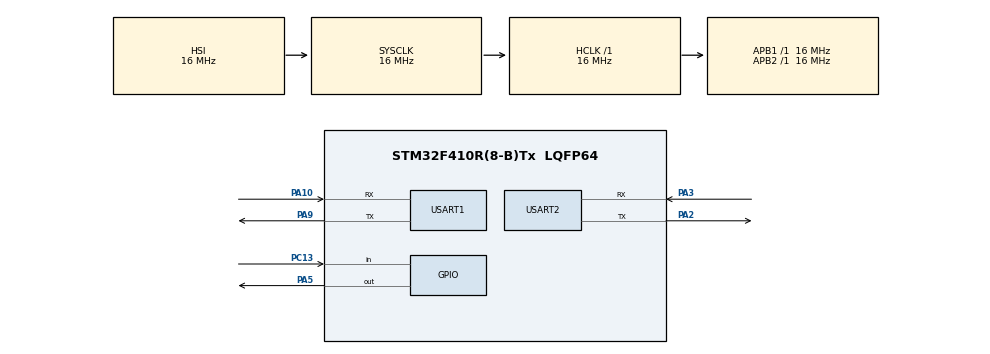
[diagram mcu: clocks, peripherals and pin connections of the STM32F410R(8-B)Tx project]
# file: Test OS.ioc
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FREERTOS.Tasks01=checkDistance,24,128,StartDefaultTask,Default,NULL,Dynamic,NULL,NULL;myTask02,24,128,StartTask02,Default,NULL,Dynamic,NULL,NULL;checkUserButton,8,128,button,Default,NULL,Dynamic,NULL,NULL;serialdetection,8,128,StartSerialDetection,Default,NULL,Dynamic,NULL,NULL
FREERTOS.configUSE_NEWLIB_REENTRANT=1
Mcu.Family=STM32F4
Mcu.Name=STM32F410R(8-B)Tx
Mcu.Package=LQFP64
NVIC.PriorityGroup=NVIC_PRIORITYGROUP_4
NVIC.TIM1_UP_IRQn=true\:15\:0\:false\:false\:true\:false\:false\:true\:true
NVIC.TimeBase=TIM1_UP_IRQn
NVIC.TimeBaseIP=TIM1
NVIC.USART1_IRQn=true\:5\:0\:false\:false\:true\:true\:true\:true\:true
NVIC.USART2_IRQn=true\:5\:0\:false\:false\:true\:true\:true\:true\:true
PA10.Mode=Asynchronous
PA10.Signal=USART1_RX
PA2.Mode=Asynchronous
PA2.Signal=USART2_TX
PA3.Mode=Asynchronous
PA3.Signal=USART2_RX
PA5.Signal=GPIO_Output
PA9.Mode=Asynchronous
PA9.Signal=USART1_TX
PC13-ANTI_TAMP.Signal=GPIO_Input
ProjectManager.HeapSize=0x200
ProjectManager.StackSize=0x400
ProjectManager.TargetToolchain=STM32CubeIDE
RCC.48MHZClocksFreq_Value=4000000
RCC.AHBFreq_Value=16000000
RCC.APB1Freq_Value=16000000
RCC.APB1TimFreq_Value=16000000
RCC.APB2Freq_Value=16000000
RCC.APB2TimFreq_Value=16000000
RCC.CortexFreq_Value=16000000
RCC.HCLKFreq_Value=16000000
RCC.HSE_VALUE=25000000
RCC.HSI_VALUE=16000000
RCC.LSE_VALUE=32768
RCC.PLLM=50
RCC.PLLN=50
RCC.PLLP=RCC_PLLP_DIV8
RCC.SYSCLKFreq_VALUE=16000000
RCC.VCOOutputFreq_Value=16000000
TIM5.Period=999
TIM5.Prescaler=249
USART1.VirtualMode=VM_ASYNC
USART2.VirtualMode=VM_ASYNC
VP_FREERTOS_VS_CMSIS_V2.Mode=CMSIS_V2
VP_SYS_VS_tim1.Mode=TIM1
VP_TIM5_VS_ClockSourceINT.Mode=Internal
board=custom

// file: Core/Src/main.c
/* USER CODE BEGIN Header */
/**
  ******************************************************************************
  * @file           : main.c
  * @brief          : Main program body
  ******************************************************************************
  * @attention
  *
  * Copyright (c) 2022 STMicroelectronics.
  * All rights reserved.
  *
  * This software is licensed under terms that can be found in the LICENSE file
  * in the root directory of this software component.
  * If no LICENSE file comes with this software, it is provided AS-IS.
  *
  ******************************************************************************
  */
/* USER CODE END Header */
#include "main.h"
#include "cmsis_os.h"

TIM_HandleTypeDef htim5;

UART_HandleTypeDef huart1;
UART_HandleTypeDef huart2;

/* Definitions for checkDistance */
osThreadId_t checkDistanceHandle;
const osThreadAttr_t checkDistance_attributes = {
  .name = "checkDistance",
  .stack_size = 128 * 4,
  .priority = (osPriority_t) osPriorityNormal,
};
/* Definitions for myTask02 */
osThreadId_t myTask02Handle;
const osThreadAttr_t myTask02_attributes = {
  .name = "myTask02",
  .stack_size = 128 * 4,
  .priority = (osPriority_t) osPriorityNormal,
};
/* Definitions for checkUserButton */
osThreadId_t checkUserButtonHandle;
const osThreadAttr_t checkUserButton_attributes = {
  .name = "checkUserButton",
  .stack_size = 128 * 4,
  .priority = (osPriority_t) osPriorityLow,
};
/* Definitions for serialdetection */
osThreadId_t serialdetectionHandle;
const osThreadAttr_t serialdetection_attributes = {
  .name = "serialdetection",
  .stack_size = 128 * 4,
  .priority = (osPriority_t) osPriorityLow,
};
/* USER CODE BEGIN PV */

int buttonCount = 0;

uint8_t mesure[2];

/* USER CODE END PV */

void SystemClock_Config(void);
static void MX_GPIO_Init(void);
static void MX_TIM5_Init(void);
static void MX_USART1_UART_Init(void);
static void MX_USART2_UART_Init(void);
void StartDefaultTask(void *argument);
void StartTask02(void *argument);
void button(void *argument);
void StartSerialDetection(void *argument);

/* USER CODE BEGIN 0 */

void send_deftask(float x){
	uint8_t value[12];
	gcvt(x, 8, value);
	value[8] = ' ';
	value[9] = '\r';
	value[10] = '\n';
	value[11]= '\0';

	int size = snprintf((char*)value, 20, "%d\r\n",(int)(x*1000));
	HAL_UART_Transmit(&huart2, value, 8+3, 500);
}

void print_point(float * OP){
	float x = OP[0];
	float y = OP[1];

	uint8_t data[]= " - ";
	send_deftask(x);
	HAL_UART_Transmit(&huart2, data, sizeof(data), 500);
	send_deftask(y);
}

/* USER CODE END 0 */

int main(void)
{

  /* MCU Configuration--------------------------------------------------------*/

  /* Reset of all peripherals, Initializes the Flash interface and the Systick. */
  HAL_Init();

  /* Configure the system clock */
  SystemClock_Config();

  /* Initialize all configured peripherals */
  MX_GPIO_Init();
  MX_TIM5_Init();
  MX_USART1_UART_Init();
  MX_USART2_UART_Init();
  /* USER CODE BEGIN 2 */
  int true;
  tests();
  /* USER CODE END 2 */

  /* Init scheduler */
  osKernelInitialize();

  /* Create the thread(s) */
  /* creation of checkDistance */
  checkDistanceHandle = osThreadNew(StartDefaultTask, NULL, &checkDistance_attributes);

  /* creation of myTask02 */
  myTask02Handle = osThreadNew(StartTask02, NULL, &myTask02_attributes);

  /* creation of checkUserButton */
  checkUserButtonHandle = osThreadNew(button, NULL, &checkUserButton_attributes);

  /* creation of serialdetection */
  serialdetectionHandle = osThreadNew(StartSerialDetection, NULL, &serialdetection_attributes);

  /* Start scheduler */
  osKernelStart();

  /* We should never get here as control is now taken by the scheduler */
  /* Infinite loop */
  while (1)
  {

  }
}

void SystemClock_Config(void)
{
  RCC_OscInitTypeDef RCC_OscInitStruct = {0};
  RCC_ClkInitTypeDef RCC_ClkInitStruct = {0};

  /** Configure the main internal regulator output voltage
  */
  __HAL_RCC_PWR_CLK_ENABLE();
  __HAL_PWR_VOLTAGESCALING_CONFIG(PWR_REGULATOR_VOLTAGE_SCALE1);

  /** Initializes the RCC Oscillators according to the specified parameters
  * in the RCC_OscInitTypeDef structure.
  */
  RCC_OscInitStruct.OscillatorType = RCC_OSCILLATORTYPE_HSI;
  RCC_OscInitStruct.HSIState = RCC_HSI_ON;
  RCC_OscInitStruct.HSICalibrationValue = RCC_HSICALIBRATION_DEFAULT;
  RCC_OscInitStruct.PLL.PLLState = RCC_PLL_NONE;
  if (HAL_RCC_OscConfig(&RCC_OscInitStruct) != HAL_OK)
  {
    Error_Handler();
  }

  /** Initializes the CPU, AHB and APB buses clocks
  */
  RCC_ClkInitStruct.ClockType = RCC_CLOCKTYPE_HCLK|RCC_CLOCKTYPE_SYSCLK
                              |RCC_CLOCKTYPE_PCLK1|RCC_CLOCKTYPE_PCLK2;
  RCC_ClkInitStruct.SYSCLKSource = RCC_SYSCLKSOURCE_HSI;
  RCC_ClkInitStruct.AHBCLKDivider = RCC_SYSCLK_DIV1;
  RCC_ClkInitStruct.APB1CLKDivider = RCC_HCLK_DIV1;
  RCC_ClkInitStruct.APB2CLKDivider = RCC_HCLK_DIV1;

  if (HAL_RCC_ClockConfig(&RCC_ClkInitStruct, FLASH_LATENCY_0) != HAL_OK)
  {
    Error_Handler();
  }
}

static void MX_TIM5_Init(void)
{

  TIM_ClockConfigTypeDef sClockSourceConfig = {0};
  TIM_MasterConfigTypeDef sMasterConfig = {0};

  htim5.Instance = TIM5;
  htim5.Init.Prescaler = 249;
  htim5.Init.CounterMode = TIM_COUNTERMODE_UP;
  htim5.Init.Period = 999;
  htim5.Init.ClockDivision = TIM_CLOCKDIVISION_DIV1;
  htim5.Init.AutoReloadPreload = TIM_AUTORELOAD_PRELOAD_DISABLE;
  if (HAL_TIM_Base_Init(&htim5) != HAL_OK)
  {
    Error_Handler();
  }
  sClockSourceConfig.ClockSource = TIM_CLOCKSOURCE_INTERNAL;
  if (HAL_TIM_ConfigClockSource(&htim5, &sClockSourceConfig) != HAL_OK)
  {
    Error_Handler();
  }
  sMasterConfig.MasterOutputTrigger = TIM_TRGO_RESET;
  sMasterConfig.MasterSlaveMode = TIM_MASTERSLAVEMODE_DISABLE;
  if (HAL_TIMEx_MasterConfigSynchronization(&htim5, &sMasterConfig) != HAL_OK)
  {
    Error_Handler();
  }

}

static void MX_USART1_UART_Init(void)
{

  huart1.Instance = USART1;
  huart1.Init.BaudRate = 115200;
  huart1.Init.WordLength = UART_WORDLENGTH_8B;
  huart1.Init.StopBits = UART_STOPBITS_1;
  huart1.Init.Parity = UART_PARITY_NONE;
  huart1.Init.Mode = UART_MODE_TX_RX;
  huart1.Init.HwFlowCtl = UART_HWCONTROL_NONE;
  huart1.Init.OverSampling = UART_OVERSAMPLING_16;
  if (HAL_UART_Init(&huart1) != HAL_OK)
  {
    Error_Handler();
  }

}

static void MX_USART2_UART_Init(void)
{

  huart2.Instance = USART2;
  huart2.Init.BaudRate = 115200;
  huart2.Init.WordLength = UART_WORDLENGTH_8B;
  huart2.Init.StopBits = UART_STOPBITS_1;
  huart2.Init.Parity = UART_PARITY_NONE;
  huart2.Init.Mode = UART_MODE_TX_RX;
  huart2.Init.HwFlowCtl = UART_HWCONTROL_NONE;
  huart2.Init.OverSampling = UART_OVERSAMPLING_16;
  if (HAL_UART_Init(&huart2) != HAL_OK)
  {
    Error_Handler();
  }

}

static void MX_GPIO_Init(void)
{
  GPIO_InitTypeDef GPIO_InitStruct = {0};

  /* GPIO Ports Clock Enable */
  __HAL_RCC_GPIOC_CLK_ENABLE();
  __HAL_RCC_GPIOA_CLK_ENABLE();

  /*Configure GPIO pin Output Level */
  HAL_GPIO_WritePin(GPIOA, GPIO_PIN_5, GPIO_PIN_RESET);

  /*Configure GPIO pin : PC13 */
  GPIO_InitStruct.Pin = GPIO_PIN_13;
  GPIO_InitStruct.Mode = GPIO_MODE_INPUT;
  GPIO_InitStruct.Pull = GPIO_NOPULL;
  HAL_GPIO_Init(GPIOC, &GPIO_InitStruct);

  /*Configure GPIO pin : PA5 */
  GPIO_InitStruct.Pin = GPIO_PIN_5;
  GPIO_InitStruct.Mode = GPIO_MODE_OUTPUT_PP;
  GPIO_InitStruct.Pull = GPIO_NOPULL;
  GPIO_InitStruct.Speed = GPIO_SPEED_FREQ_LOW;
  HAL_GPIO_Init(GPIOA, &GPIO_InitStruct);

}

void StartDefaultTask(void *argument)
{
  /* USER CODE BEGIN 5 */
	uint8_t n = 0;
	int dist = 4;
	float angle = 90;
  /* Infinite loop */
  for(;;)
  {
	  n+= 10;
	  //double * distance = positionRelative(n, dist, angle);
	  if(n > 100) //HAL_GPIO_TogglePin(GPIOA, GPIO_PIN_5);
	  osDelay(500);
  }
  /* USER CODE END 5 */
}

void StartTask02(void *argument)
{
  /* USER CODE BEGIN StartTask02 */
	static float i = 2;

  /* Infinite loop */
  for(;;)
  {

	  int capteurNumber = mesure[0]>>4;
	  int distanceMesuree = mesure[0]&0xF;
	  float * sortie;
	  float ag = (float)buttonCount;
	  sortie = positionRelative(capteurNumber, distanceMesuree, &ag);
	  //sortie[0] = 12.4;
	  float OA[2]; float OB[2];
	  OA[0] = sortie[0]; OA[1] = sortie[1];
	  OB[0] = sortie[2]; OB[1] = sortie[3];
	  print_point(OA);
	  print_point(OB);

	  uint8_t data[] = "###### \r\n";
	  HAL_UART_Transmit(&huart2, data, sizeof(data), 500);
	  //send_deftask(buttonCount);

	  i+=1;
    osDelay(500);

  }
  /* USER CODE END StartTask02 */
}

void button(void *argument)
{
  /* USER CODE BEGIN button */
  /* Infinite loop */
  for(;;)
  {
/*
	  if(GPIO_PIN_SET == HAL_GPIO_ReadPin(GPIOC, 13)){
		  buttonCount++;
	  }*/
	  buttonCount = 1- (int)HAL_GPIO_ReadPin(GPIOC, GPIO_PIN_13);
	  send_deftask(buttonCount);
    osDelay(500);
  }
  /* USER CODE END button */
}

void StartSerialDetection(void *argument)
{
  /* USER CODE BEGIN StartSerialDetection */
	uint8_t data[2];
	uint8_t chiffres[16] ={'0','1','2','3','4','5','6','7','8','9','A','B','C','D','E','F'};
  /* Infinite loop */
  for(;;)
  {
	data[0] = 0;
	HAL_UART_Receive(&huart1, data, 1, 500);
	if(data[0] != 0){
		int i = data[0]>>4;
		int j = data[0]&0xF;
		HAL_UART_Transmit(&huart2, &" Capteur : ", 11, 100);
		HAL_UART_Transmit(&huart2, &chiffres[i], 1, 100);
		HAL_UART_Transmit(&huart2, &", mesure : ", 11, 100);
		HAL_UART_Transmit(&huart2, &chiffres[j], 1, 100);
		HAL_UART_Transmit(&huart2, &"\n\r", 2, 100);

		HAL_GPIO_TogglePin(GPIOA, GPIO_PIN_5);

		mesure[0] = data[0]; mesure[1] = data[1];
	}
    osDelay(100);
  }
  /* USER CODE END StartSerialDetection */
}

void HAL_TIM_PeriodElapsedCallback(TIM_HandleTypeDef *htim)
{
  if (htim->Instance == TIM1) {
    HAL_IncTick();
  }
}

void Error_Handler(void)
{
  __disable_irq();
  while (1)
  {
  }
}
